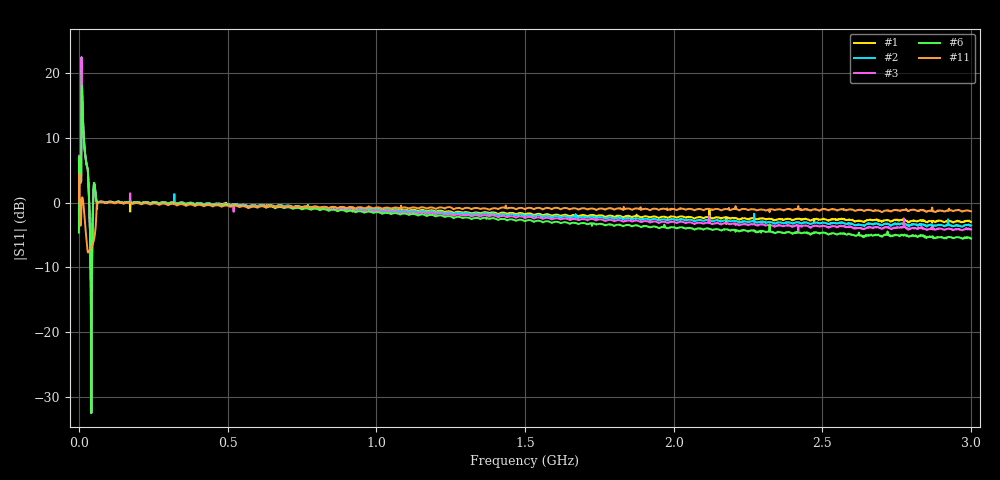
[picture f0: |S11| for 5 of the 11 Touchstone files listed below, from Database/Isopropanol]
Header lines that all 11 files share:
# HZ S RI R 50
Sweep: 10 kHz to 3 GHz
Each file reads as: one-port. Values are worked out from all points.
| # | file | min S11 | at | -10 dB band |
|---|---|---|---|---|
| 1 | 10%.s1p | -32.5 dB | 41.61 MHz | 4.704 MHz wide |
| 2 | 20%.s1p | -32.5 dB | 41.61 MHz | 4.702 MHz wide |
| 3 | 30%.s1p | -32.5 dB | 41.61 MHz | 4.703 MHz wide |
| 4 | 40%.s1p | -32.5 dB | 41.61 MHz | 4.702 MHz wide |
| 5 | 50%.s1p | -32.5 dB | 41.61 MHz | 4.704 MHz wide |
| 6 | 60%.s1p | -32.5 dB | 41.61 MHz | 4.701 MHz wide |
| 7 | 70%.s1p | -32.5 dB | 41.61 MHz | 4.703 MHz wide |
| 8 | 80%.s1p | -32.5 dB | 41.61 MHz | 4.703 MHz wide |
| 9 | 90%.s1p | -32.5 dB | 41.61 MHz | 4.701 MHz wide |
| 10 | 100%.s1p | -32.5 dB | 41.61 MHz | 4.702 MHz wide |
| 11 | propan-2-ol.s1p | -7.7 dB | 31.21 MHz | - |
